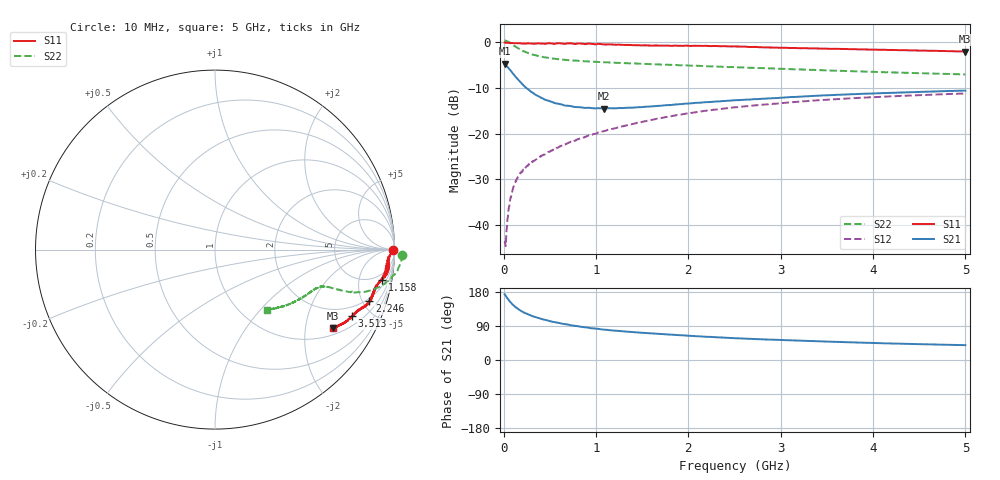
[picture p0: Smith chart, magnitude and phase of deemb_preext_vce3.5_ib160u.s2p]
! Forward-simulated: Re-embedded (raw/measured) — deemb_preext_vce3.5_ib160u.s2p
!  source_deembedded_file = deemb_preext_vce3.5_ib160u.s2p
!  Cpbe_fF = 22.0
!  Cpce_fF = 18.0
!  Cpbc_fF = 5.0
!  Lb_pH = 45.0
!  Lc_pH = 42.0
!  Le_pH = 6.0
!  Rpb_ohm = 0.0
!  Rpc_ohm = 0.0
!  Rpe_ohm = 0.0
# Hz S DB R 50
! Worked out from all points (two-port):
!   1001 points, 10 MHz to 5 GHz, reference 50 ohm
!   highest |S21| = -4.71 dB at 10 MHz (marker M1); lowest = -14.5 dB at 1.088 GHz (marker M2)
!   |S21| within 3 dB of the highest: start of sweep to 134.4 MHz
!   lowest |S11| = -2.0 dB at 4.995 GHz (marker M3), VSWR 8.54, Z = 60.8 - j142 ohm
!   |S11| at or under -10 dB: nowhere
!   |S22| runs from -7.1 to 0.4 dB; largest |S21 - S12| = 0.58
!   S11 on the Smith chart (normalised r, x): 10 MHz: open; 1.158 GHz: 3, -10; 2.246 GHz: 1.73, -5.62; 3.513 GHz: 1.47, -3.83; 5 GHz: 1.21, -2.84
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1e7  -0.08 -0.1  -4.71 173.7  -43.99 64.7  0.38 -1.5
2.996e7  -0.13 -0.6  -5.19 166.3  -41.35 71.9  0.28 -5.0
6.489e7  -0.14 -1.0  -5.98 154.9  -35.49 69.0  -0.15 -9.8
9.483e7  -0.20 -1.6  -6.71 147.1  -32.48 66.5  -0.52 -12.6
1.3475e8  -0.23 -2.1  -7.72 138.5  -30.39 62.0  -1.06 -15.1
1.9962e8  -0.30 -2.6  -9.16 127.8  -28.23 56.3  -1.83 -17.2
3.1439e8  -0.34 -3.7  -11.08 115.4  -26.04 54.0  -2.74 -17.9
4.5411e8  -0.33 -4.4  -12.65 105.6  -24.43 55.6  -3.34 -18.2
5.9882e8  -0.22 -5.7  -13.52 97.8  -22.91 55.8  -3.74 -18.3
6.587e8  -0.39 -6.5  -13.84 94.6  -22.40 55.9  -3.84 -18.6
7.086e8  -0.22 -6.4  -13.94 92.8  -21.96 55.6  -3.93 -18.8
8.4333e8  -0.31 -8.1  -14.28 87.4  -21.01 55.9  -4.15 -19.4
1.08784e9  -0.48 -10.1  -14.52 80.1  -19.49 56.0  -4.39 -21.1
1.1577e9  -0.48 -10.2  -14.47 78.4  -19.04 55.6  -4.47 -21.5
1.67666e9  -0.74 -13.8  -13.93 68.9  -16.71 54.1  -4.87 -25.8
2.24552e9  -0.85 -18.5  -13.06 60.8  -14.88 50.3  -5.29 -30.8
2.505e9  -0.92 -20.3  -12.72 57.5  -14.26 48.5  -5.46 -32.7
3.33833e9  -1.35 -24.8  -11.77 50.0  -12.80 43.5  -6.06 -39.0
3.51298e9  -1.44 -25.8  -11.61 48.5  -12.58 42.4  -6.20 -40.3
4.17166e9  -1.71 -30.0  -11.10 43.8  -11.86 38.7  -6.58 -44.4
4.99501e9  -2.04 -33.6  -10.60 39.2  -11.23 35.2  -7.05 -48.8
5e9  -2.04 -33.7  -10.61 39.2  -11.22 35.2  -7.05 -48.8
